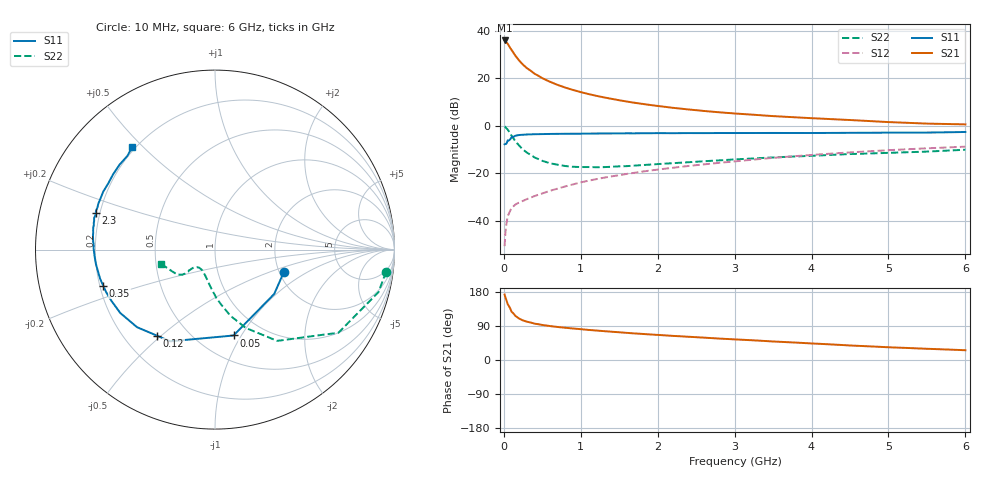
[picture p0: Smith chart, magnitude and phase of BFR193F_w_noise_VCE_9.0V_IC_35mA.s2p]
! Infineon Technologies  Discrete & RF Semiconductors
! BFR193F
! VCE =  9.0 V,  IC =  35 mA
! Common Emitter S-Parameters:  Jan 2017
# GHz  S  MA  R  50
!  f  S11  S21  S12  S22
! GHz  MAG  ANG  MAG  ANG  MAG  ANG  MAG  ANG
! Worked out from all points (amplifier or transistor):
!   77 points, 10 MHz to 6 GHz, reference 50 ohm
!   highest |S21| = 35.9 dB at 10 MHz (marker M1)
!   |S21| within 3 dB of that: start of sweep to 80.25 MHz
!   unconditionally stable (mu >= 1): 1.129 GHz to 2.637 GHz
!   at 130 MHz: K = 0.38, MSG = 32.1 dB, |S12| = -33.8 dB
!   at 2.2 GHz: K = 1.02, MAG = 11.8 dB, |S12| = -17.7 dB
!   at 6 GHz: K = 0.85, MSG = 4.7 dB, |S12| = -8.9 dB
!   lowest NFmin = 1.26 dB at 450 MHz
!   S11 on the Smith chart (normalised r, x): 10 MHz: 2.13, -0.62; 50 MHz: 0.74, -0.93; 120 MHz: 0.34, -0.48; 350 MHz: 0.21, -0.15; 2.3 GHz: 0.18, +0.15; 6 GHz: 0.19, +0.47
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0.01  0.4039 -17.7  62.11 172.6  0.0029 86.3  0.9612 -7.4
0.02  0.4121 -36.8  60.58 165.4  0.0055 77.4  0.9411 -14.6
0.05  0.4896 -77.8  52.98 147.5  0.0122 64.5  0.829 -34.0
0.1  0.5687 -116.0  39.22 127.4  0.0184 53.7  0.6154 -55.7
0.12  0.5784 -124.0  35.22 123.7  0.0198 52.2  0.5536 -60.0
0.15  0.613 -135.2  29.58 116.3  0.0218 50.4  0.4688 -68.6
0.2  0.635 -146.2  23.36 109.2  0.0242 50.0  0.3782 -76.9
0.25  0.6438 -153.6  19.14 104.4  0.0261 50.0  0.3118 -83.2
0.3  0.6512 -158.6  16.23 101.0  0.0284 52.4  0.2707 -88.3
0.35  0.6544 -162.1  14.29 98.8  0.0306 54.4  0.2416 -91.7
0.4  0.6601 -165.6  12.37 95.9  0.0329 56.2  0.2136 -96.1
0.5  0.6639 -170.1  9.98 92.5  0.0374 59.1  0.1817 -102.4
0.6  0.6684 -173.3  8.374 89.6  0.0424 61.1  0.1616 -108.0
0.8  0.6734 -178.4  6.311 85.1  0.0526 65.7  0.1411 -117.3
1.1  0.6802 176.1  4.626 79.4  0.0693 69.1  0.1343 -126.4
1.5  0.6874 171.0  3.426 73.2  0.0908 71.1  0.1391 -134.9
2.1  0.6945 164.6  2.483 65.0  0.1242 72.1  0.1586 -140.1
2.3  0.6952 162.8  2.279 62.5  0.1356 72.1  0.1659 -140.6
3.1  0.6987 155.9  1.759 53.4  0.183 71.2  0.1983 -140.7
4.1  0.7007 147.2  1.41 42.7  0.2477 67.9  0.2356 -143.6
5.1  0.7119 137.3  1.171 32.8  0.3099 62.8  0.2704 -154.1
6  0.735 128.8  1.063 25.8  0.3607 57.8  0.311 -165.0
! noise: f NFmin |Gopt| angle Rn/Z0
0.45  1.26  0.42  178  0.06
0.9  1.35  0.44  178  0.07
1.9  1.9  0.58  -166  0.08
2.4  2.2  0.61  -157  0.12
